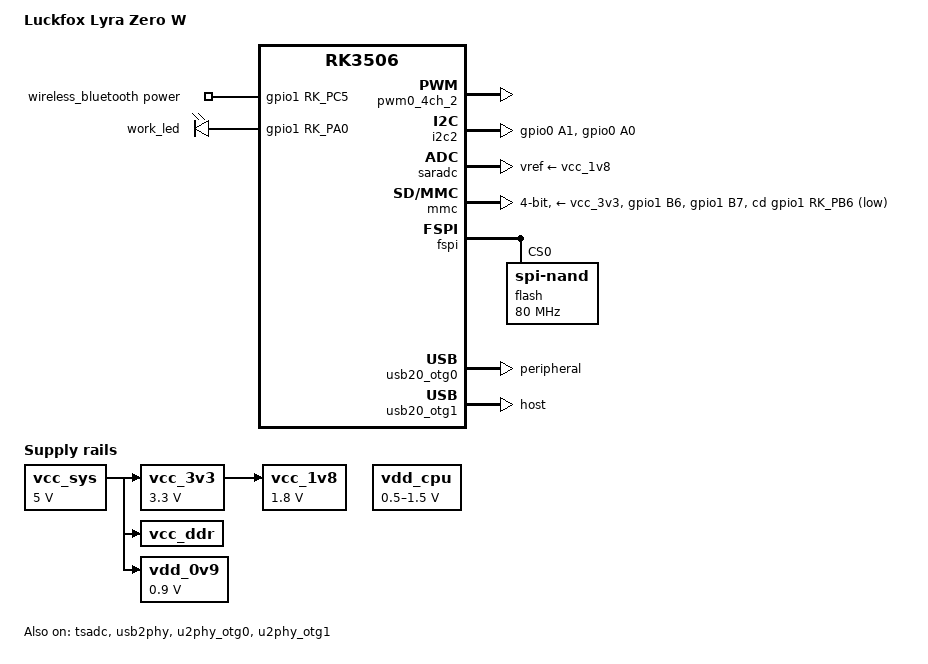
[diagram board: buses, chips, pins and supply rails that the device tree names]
// SPDX-License-Identifier: (GPL-2.0+ OR MIT)
/*
 * Copyright (c) 2024 Rockchip Electronics Co., Ltd.
 */

/dts-v1/;

#include <dt-bindings/pinctrl/rockchip.h>
//#include <dt-bindings/display/drm_mipi_dsi.h>
//#include <dt-bindings/display/rockchip_vop.h>
//#include <dt-bindings/input/rk-input.h>
//#include <dt-bindings/sensor-dev.h>
//#include <dt-bindings/suspend/rockchip-rk3506.h>

#include "rk3506.dtsi"

/ {
    model = "Luckfox Lyra Zero W";
    compatible = "rockchip,rk3506b-luckfox-lyra-zero-w-sd", "rockchip,rk3506";

    wireless_bluetooth: wireless-bluetooth {
        compatible = "bluetooth-platdata";
        BT,power_gpio = <&gpio1 RK_PC5 GPIO_ACTIVE_HIGH>;
        status = "okay";
    };

    adc_keys: adc-keys {
        compatible = "adc-keys";
        io-channels = <&saradc 1>;
        io-channel-names = "buttons";
        keyup-threshold-microvolt = <1800000>;
        poll-interval = <100>;
    };

    leds: leds {
        compatible = "gpio-leds";
        work_led: work-led {
            gpios = <&gpio1 RK_PA0 GPIO_ACTIVE_HIGH>;
            linux,default-trigger = "heartbeat";
        };
    };

    vcc_sys: vcc-sys {
        compatible = "regulator-fixed";
        regulator-name = "vcc_sys";
        regulator-always-on;
        regulator-boot-on;
        regulator-min-microvolt = <5000000>;
        regulator-max-microvolt = <5000000>;
    };

    vcc_3v3: vcc-3v3 {
        compatible = "regulator-fixed";
        regulator-name = "vcc_3v3";
        regulator-always-on;
        regulator-boot-on;
        regulator-min-microvolt = <3300000>;
        regulator-max-microvolt = <3300000>;
        vin-supply = <&vcc_sys>;
    };

    vcc_1v8: vcc-1v8 {
        compatible = "regulator-fixed";
        regulator-name = "vcc_1v8";
        regulator-always-on;
        regulator-boot-on;
        regulator-min-microvolt = <1800000>;
        regulator-max-microvolt = <1800000>;
        vin-supply = <&vcc_3v3>;
    };

    /* 1.8V */
    vcc_ddr: vcc-ddr {
        compatible = "regulator-fixed";
        regulator-name = "vcc_ddr";
        regulator-always-on;
        regulator-boot-on;
        vin-supply = <&vcc_sys>;
    };

    vdd_0v9: vdd-0v9 {
        compatible = "regulator-fixed";
        regulator-name = "vdd_0v9";
        regulator-always-on;
        regulator-boot-on;
        regulator-min-microvolt = <900000>;
        regulator-max-microvolt = <900000>;
        vin-supply = <&vcc_sys>;
    };

    vdd_cpu: vdd-cpu {
        compatible = "regulator-fixed";
        regulator-name = "vdd_cpu";
        regulator-boot-on;
        regulator-always-on;
        regulator-min-microvolt = <500000>;
        regulator-max-microvolt = <1500000>;
        vin-supply = <&vdd_cpu>;
    };
};

&cpu0 {
	cpu-supply = <&vdd_cpu>;
};

&cpu1 {
	cpu-supply = <&vdd_cpu>;
};

&cpu2 {
	cpu-supply = <&vdd_cpu>;
};

&pwm0_4ch_2 {
    pinctrl-names = "active";
    pinctrl-0 = <&rm_io15_pwm0_ch2>;
    status = "okay";
};

&i2c2 {
	status = "okay";
	pinctrl-names = "default";
	pinctrl-0 = <&rm_io1_i2c2_scl &rm_io0_i2c2_sda>;
};

&pinctrl {
	rm_io0 {
		rm_io0_i2c2_sda: rm-io0-i2c2-sda {
			rockchip,pins =
				<0 RK_PA0 35 &pcfg_pull_up>;
		};
	};

	rm_io1 {
		rm_io1_i2c2_scl: rm-io1-i2c2-scl {
			rockchip,pins =
				<0 RK_PA1 34 &pcfg_pull_up>;
		};
	};
};

&saradc {
    vref-supply = <&vcc_1v8>;
    status = "okay";
};

&tsadc {
    pinctrl-names = "gpio", "otpout";
    pinctrl-0 = <&wdt_tsadc_gpio>;
    pinctrl-1 = <&rm_io21_wdt_tsadc_shut>;
    status = "okay";
};

&mmc {
    max-frequency = <52000000>;
    bus-width = <4>;
    no-sdio;
    no-mmc;
    cap-mmc-highspeed;
    cap-sd-highspeed;
    cd-gpios = <&gpio1 RK_PB6 GPIO_ACTIVE_LOW>;
    disable-wp;
    //sd-uhs-sdr104;
    pinctrl-names = "default";
    pinctrl-0 = <&sdmmc_clk_pins &sdmmc_cmd_pins &sdmmc_bus4_pins &sdmmc_det &sdmmc_pwren>;
    vqmmc-supply = <&vcc_3v3>;
    vmmc-supply = <&vcc_3v3>;
    status = "okay";
};

&fspi {
    status = "okay";

    flash@0 {
        compatible = "spi-nand";
        reg = <0>;
        spi-max-frequency = <80000000>;
        spi-rx-bus-width = <4>;
        spi-tx-bus-width = <1>;
    };
};

// &gmac1 {
//     status = "disabled";
// };

&usb20_otg0 {
    dr_mode = "peripheral";
    status = "okay";
};

&usb20_otg1 {
    dr_mode = "host";
    status = "okay";
};

&usb2phy {
    /* extcon = <&extcon_usb>; */
    status = "okay";
};

&u2phy_otg0 {
    status = "okay";
};

&u2phy_otg1 {
    status = "okay";
};

/* Pinctrl */
&pinctrl {
    sdmmc {
        /omit-if-no-ref/
        sdmmc_pwren: sdmmc-pwren {
            rockchip,pins = <1 RK_PB7 RK_FUNC_GPIO &pcfg_pull_down>;
        };

        sdmmc_det: sdmmc-det {
            rockchip,pins = <1 RK_PB6 RK_FUNC_GPIO &pcfg_pull_up>;
        };
    };

    tsadc {
        wdt_tsadc_gpio: wdt-tsadc-gpio {
            rockchip,pins = <0 RK_PC5 RK_FUNC_GPIO &pcfg_pull_none>;
        };
    };
};
